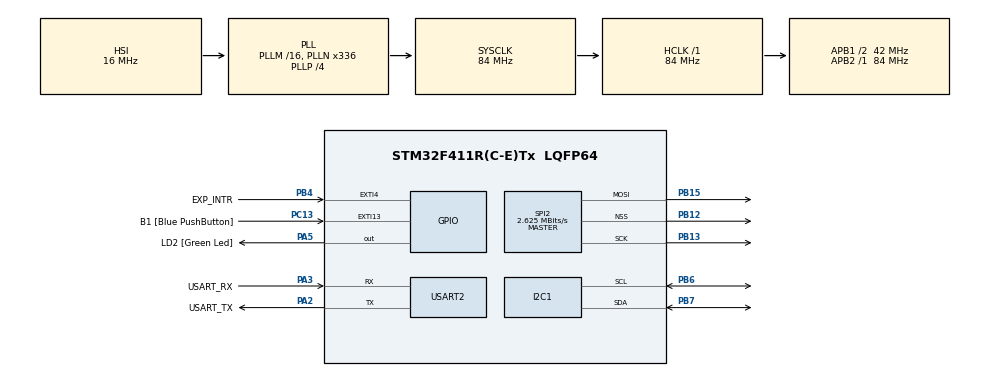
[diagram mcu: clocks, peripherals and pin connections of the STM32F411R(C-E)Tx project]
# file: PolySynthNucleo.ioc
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Dma.Request0=SPI2_TX
Dma.SPI2_TX.0.Direction=DMA_MEMORY_TO_PERIPH
Dma.SPI2_TX.0.FIFOMode=DMA_FIFOMODE_DISABLE
Dma.SPI2_TX.0.Instance=DMA1_Stream4
Dma.SPI2_TX.0.MemDataAlignment=DMA_MDATAALIGN_BYTE
Dma.SPI2_TX.0.MemInc=DMA_MINC_ENABLE
Dma.SPI2_TX.0.Mode=DMA_NORMAL
Dma.SPI2_TX.0.PeriphDataAlignment=DMA_PDATAALIGN_BYTE
Dma.SPI2_TX.0.PeriphInc=DMA_PINC_DISABLE
Dma.SPI2_TX.0.Priority=DMA_PRIORITY_LOW
Mcu.Family=STM32F4
Mcu.Name=STM32F411R(C-E)Tx
Mcu.Package=LQFP64
NVIC.DMA1_Stream4_IRQn=true\:0\:0\:false\:false\:true\:false\:true\:true
NVIC.EXTI4_IRQn=true\:0\:0\:false\:false\:true\:true\:true\:true
NVIC.PriorityGroup=NVIC_PRIORITYGROUP_0
PA13.GPIO_Label=TMS
PA13.Mode=Serial_Wire
PA13.Signal=SYS_JTMS-SWDIO
PA14.GPIO_Label=TCK
PA14.Mode=Serial_Wire
PA14.Signal=SYS_JTCK-SWCLK
PA2.GPIO_Label=USART_TX
PA2.Mode=Asynchronous
PA2.Signal=USART2_TX
PA3.GPIO_Label=USART_RX
PA3.Mode=Asynchronous
PA3.Signal=USART2_RX
PA5.GPIO_Label=LD2 [Green Led]
PA5.Signal=GPIO_Output
PB12.Mode=NSS_Signal_Hard_Output
PB12.Signal=SPI2_NSS
PB13.Mode=TX_Only_Simplex_Unidirect_Master
PB13.Signal=SPI2_SCK
PB15.Mode=TX_Only_Simplex_Unidirect_Master
PB15.Signal=SPI2_MOSI
PB3.Signal=SYS_JTDO-SWO
PB4.GPIO_Label=EXP_INTR
PB4.Signal=GPXTI4
PB6.Mode=I2C
PB6.Signal=I2C1_SCL
PB7.Mode=I2C
PB7.Signal=I2C1_SDA
PC13-ANTI_TAMP.GPIO_Label=B1 [Blue PushButton]
PC13-ANTI_TAMP.GPIO_ModeDefaultEXTI=GPIO_MODE_IT_FALLING
PC13-ANTI_TAMP.Signal=GPXTI13
PC14-OSC32_IN.Mode=LSE-External-Oscillator
PC14-OSC32_IN.Signal=RCC_OSC32_IN
PC15-OSC32_OUT.Mode=LSE-External-Oscillator
PC15-OSC32_OUT.Signal=RCC_OSC32_OUT
PH0\ -\ OSC_IN.Mode=HSE-External-Oscillator
PH0\ -\ OSC_IN.Signal=RCC_OSC_IN
PH1\ -\ OSC_OUT.Mode=HSE-External-Oscillator
PH1\ -\ OSC_OUT.Signal=RCC_OSC_OUT
ProjectManager.HeapSize=0x200
ProjectManager.StackSize=0x400
ProjectManager.TargetToolchain=STM32CubeIDE
RCC.48MHZClocksFreq_Value=84000000
RCC.AHBFreq_Value=84000000
RCC.APB1CLKDivider=RCC_HCLK_DIV2
RCC.APB1Freq_Value=42000000
RCC.APB1TimFreq_Value=84000000
RCC.APB2Freq_Value=84000000
RCC.APB2TimFreq_Value=84000000
RCC.CortexFreq_Value=84000000
RCC.FLatency-AdvancedSettings=FLASH_LATENCY_2
RCC.HCLKFreq_Value=84000000
RCC.HSE_VALUE=16000000
RCC.HSI_VALUE=16000000
RCC.PLLN=336
RCC.PLLP=RCC_PLLP_DIV4
RCC.SYSCLKFreq_VALUE=84000000
RCC.SYSCLKSource=RCC_SYSCLKSOURCE_PLLCLK
RCC.VCOOutputFreq_Value=336000000
SPI2.BaudRatePrescaler=SPI_BAUDRATEPRESCALER_16
SPI2.CalculateBaudRate=2.625 MBits/s
SPI2.Direction=SPI_DIRECTION_2LINES
SPI2.Mode=SPI_MODE_MASTER
SPI2.VirtualNSS=VM_NSSHARD
SPI2.VirtualType=VM_MASTER
USART2.VirtualMode=VM_ASYNC
board=NUCLEO-F411RE

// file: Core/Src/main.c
/* USER CODE BEGIN Header */
/**
  ******************************************************************************
  * @file           : main.c
  * @brief          : Main program body
  ******************************************************************************
  * @attention
  *
  * Copyright (c) 2024 STMicroelectronics.
  * All rights reserved.
  *
  * This software is licensed under terms that can be found in the LICENSE file
  * in the root directory of this software component.
  * If no LICENSE file comes with this software, it is provided AS-IS.
  *
  ******************************************************************************
  */
/* USER CODE END Header */
#include "main.h"

/* USER CODE BEGIN Includes */
#include <stdio.h>
#include "VoiceClock.h"
#include "DigitalPots.h"

/* USER CODE END Includes */

/* USER CODE BEGIN PD */

// Digital Pot settings
#define SAW1_LVL 255
#define TRI1_LVL 0
#define PULSE1_LVL 0
#define OSC1_LVL 128

#define SAW2_LVL 0
#define TRI2_LVL 0
#define PULSE2_LVL 255
#define OSC2_LVL 128

#define RESONANCE_LEVEL 128

/* USER CODE END PD */

I2C_HandleTypeDef hi2c1;

SPI_HandleTypeDef hspi2;
DMA_HandleTypeDef hdma_spi2_tx;

UART_HandleTypeDef huart2;

/* USER CODE BEGIN PV */
uint16_t clockBuffer[BUFFER_SIZE];
static volatile uint16_t outputIdx = 0;
uint8_t needsClockData;

uint16_t vBuf1[BUFFER_SIZE];
uint16_t vBuf2[BUFFER_SIZE];
uint16_t* currentBuffer = vBuf1;
uint16_t* nextBuffer = vBuf2;
volatile uint8_t nextBufNeeded = 0;

voice_clock_t voiceClk;

/* USER CODE END PV */

void SystemClock_Config(void);
static void MX_GPIO_Init(void);
static void MX_DMA_Init(void);
static void MX_USART2_UART_Init(void);
static void MX_SPI2_Init(void);
static void MX_I2C1_Init(void);

/* USER CODE BEGIN PFP */
void setMixers();

/* USER CODE END PFP */

/* USER CODE BEGIN 0 */

// HAL callbacks to request the next chunk for DMA
void HAL_SPI_TxCpltCallback(SPI_HandleTypeDef *hspi){
	uint16_t* justFinished = currentBuffer;
	currentBuffer = nextBuffer;
	nextBuffer = justFinished;
	if(HAL_SPI_Transmit_DMA(&hspi2, (uint8_t*)currentBuffer, BUFFER_SIZE * 2) != HAL_OK){
		Error_Handler();
	}
}

void HAL_SPI_TxHalfCpltCallback(SPI_HandleTypeDef *hspi){
	nextBufNeeded = 1;
}
/* USER CODE END 0 */

int main(void)
{

  /* MCU Configuration--------------------------------------------------------*/

  /* Reset of all peripherals, Initializes the Flash interface and the Systick. */
  HAL_Init();

  /* Configure the system clock */
  SystemClock_Config();

  /* Initialize all configured peripherals */
  MX_GPIO_Init();
  MX_DMA_Init();
  MX_USART2_UART_Init();
  MX_SPI2_Init();
  MX_I2C1_Init();
  /* USER CODE BEGIN 2 */
  // initialize the first voice buffer
  send_bits(voiceClk, currentBuffer, 0, BUFFER_SIZE);
  if(HAL_SPI_Transmit_DMA(&hspi2, (uint8_t*)currentBuffer, BUFFER_SIZE * 2) != HAL_OK){
	  Error_Handler();
  }

  setMixers();
  /* USER CODE END 2 */

  /* Infinite loop */
  /* USER CODE BEGIN WHILE */
  while (1)
  {
	  // update DMA for the waves if needed
	 if(nextBufNeeded){
		 send_bits(voiceClk, nextBuffer, 0, BUFFER_SIZE);
		 nextBufNeeded = 0;
	 }

    /* USER CODE END WHILE */

  }
}

void SystemClock_Config(void)
{
  RCC_OscInitTypeDef RCC_OscInitStruct = {0};
  RCC_ClkInitTypeDef RCC_ClkInitStruct = {0};

  /** Configure the main internal regulator output voltage
  */
  __HAL_RCC_PWR_CLK_ENABLE();
  __HAL_PWR_VOLTAGESCALING_CONFIG(PWR_REGULATOR_VOLTAGE_SCALE1);

  /** Initializes the RCC Oscillators according to the specified parameters
  * in the RCC_OscInitTypeDef structure.
  */
  RCC_OscInitStruct.OscillatorType = RCC_OSCILLATORTYPE_HSI;
  RCC_OscInitStruct.HSIState = RCC_HSI_ON;
  RCC_OscInitStruct.HSICalibrationValue = RCC_HSICALIBRATION_DEFAULT;
  RCC_OscInitStruct.PLL.PLLState = RCC_PLL_ON;
  RCC_OscInitStruct.PLL.PLLSource = RCC_PLLSOURCE_HSI;
  RCC_OscInitStruct.PLL.PLLM = 16;
  RCC_OscInitStruct.PLL.PLLN = 336;
  RCC_OscInitStruct.PLL.PLLP = RCC_PLLP_DIV4;
  RCC_OscInitStruct.PLL.PLLQ = 4;
  if (HAL_RCC_OscConfig(&RCC_OscInitStruct) != HAL_OK)
  {
    Error_Handler();
  }

  /** Initializes the CPU, AHB and APB buses clocks
  */
  RCC_ClkInitStruct.ClockType = RCC_CLOCKTYPE_HCLK|RCC_CLOCKTYPE_SYSCLK
                              |RCC_CLOCKTYPE_PCLK1|RCC_CLOCKTYPE_PCLK2;
  RCC_ClkInitStruct.SYSCLKSource = RCC_SYSCLKSOURCE_PLLCLK;
  RCC_ClkInitStruct.AHBCLKDivider = RCC_SYSCLK_DIV1;
  RCC_ClkInitStruct.APB1CLKDivider = RCC_HCLK_DIV2;
  RCC_ClkInitStruct.APB2CLKDivider = RCC_HCLK_DIV1;

  if (HAL_RCC_ClockConfig(&RCC_ClkInitStruct, FLASH_LATENCY_2) != HAL_OK)
  {
    Error_Handler();
  }
}

static void MX_I2C1_Init(void)
{

  hi2c1.Instance = I2C1;
  hi2c1.Init.ClockSpeed = 100000;
  hi2c1.Init.DutyCycle = I2C_DUTYCYCLE_2;
  hi2c1.Init.OwnAddress1 = 0;
  hi2c1.Init.AddressingMode = I2C_ADDRESSINGMODE_7BIT;
  hi2c1.Init.DualAddressMode = I2C_DUALADDRESS_DISABLE;
  hi2c1.Init.OwnAddress2 = 0;
  hi2c1.Init.GeneralCallMode = I2C_GENERALCALL_DISABLE;
  hi2c1.Init.NoStretchMode = I2C_NOSTRETCH_DISABLE;
  if (HAL_I2C_Init(&hi2c1) != HAL_OK)
  {
    Error_Handler();
  }

}

static void MX_SPI2_Init(void)
{

  /* SPI2 parameter configuration*/
  hspi2.Instance = SPI2;
  hspi2.Init.Mode = SPI_MODE_MASTER;
  hspi2.Init.Direction = SPI_DIRECTION_2LINES;
  hspi2.Init.DataSize = SPI_DATASIZE_8BIT;
  hspi2.Init.CLKPolarity = SPI_POLARITY_LOW;
  hspi2.Init.CLKPhase = SPI_PHASE_1EDGE;
  hspi2.Init.NSS = SPI_NSS_HARD_OUTPUT;
  hspi2.Init.BaudRatePrescaler = SPI_BAUDRATEPRESCALER_16;
  hspi2.Init.FirstBit = SPI_FIRSTBIT_MSB;
  hspi2.Init.TIMode = SPI_TIMODE_DISABLE;
  hspi2.Init.CRCCalculation = SPI_CRCCALCULATION_DISABLE;
  hspi2.Init.CRCPolynomial = 10;
  if (HAL_SPI_Init(&hspi2) != HAL_OK)
  {
    Error_Handler();
  }
  /* USER CODE BEGIN SPI2_Init 2 */
  voiceClk = create_voice_clock();

  /* USER CODE END SPI2_Init 2 */

}

static void MX_USART2_UART_Init(void)
{

  huart2.Instance = USART2;
  huart2.Init.BaudRate = 115200;
  huart2.Init.WordLength = UART_WORDLENGTH_8B;
  huart2.Init.StopBits = UART_STOPBITS_1;
  huart2.Init.Parity = UART_PARITY_NONE;
  huart2.Init.Mode = UART_MODE_TX_RX;
  huart2.Init.HwFlowCtl = UART_HWCONTROL_NONE;
  huart2.Init.OverSampling = UART_OVERSAMPLING_16;
  if (HAL_UART_Init(&huart2) != HAL_OK)
  {
    Error_Handler();
  }

}

static void MX_DMA_Init(void)
{

  /* DMA controller clock enable */
  __HAL_RCC_DMA1_CLK_ENABLE();

  /* DMA interrupt init */
  /* DMA1_Stream4_IRQn interrupt configuration */
  HAL_NVIC_SetPriority(DMA1_Stream4_IRQn, 0, 0);
  HAL_NVIC_EnableIRQ(DMA1_Stream4_IRQn);

}

static void MX_GPIO_Init(void)
{
  GPIO_InitTypeDef GPIO_InitStruct = {0};

  /* GPIO Ports Clock Enable */
  __HAL_RCC_GPIOC_CLK_ENABLE();
  __HAL_RCC_GPIOH_CLK_ENABLE();
  __HAL_RCC_GPIOA_CLK_ENABLE();
  __HAL_RCC_GPIOB_CLK_ENABLE();

  /*Configure GPIO pin Output Level */
  HAL_GPIO_WritePin(LD2_GPIO_Port, LD2_Pin, GPIO_PIN_RESET);

  /*Configure GPIO pin : B1_Pin */
  GPIO_InitStruct.Pin = B1_Pin;
  GPIO_InitStruct.Mode = GPIO_MODE_IT_FALLING;
  GPIO_InitStruct.Pull = GPIO_NOPULL;
  HAL_GPIO_Init(B1_GPIO_Port, &GPIO_InitStruct);

  /*Configure GPIO pin : LD2_Pin */
  GPIO_InitStruct.Pin = LD2_Pin;
  GPIO_InitStruct.Mode = GPIO_MODE_OUTPUT_PP;
  GPIO_InitStruct.Pull = GPIO_NOPULL;
  GPIO_InitStruct.Speed = GPIO_SPEED_FREQ_LOW;
  HAL_GPIO_Init(LD2_GPIO_Port, &GPIO_InitStruct);

  /*Configure GPIO pin : EXP_INTR_Pin */
  GPIO_InitStruct.Pin = EXP_INTR_Pin;
  GPIO_InitStruct.Mode = GPIO_MODE_IT_RISING;
  GPIO_InitStruct.Pull = GPIO_NOPULL;
  HAL_GPIO_Init(EXP_INTR_GPIO_Port, &GPIO_InitStruct);

  /* EXTI interrupt init*/
  HAL_NVIC_SetPriority(EXTI4_IRQn, 0, 0);
  HAL_NVIC_EnableIRQ(EXTI4_IRQn);

}

/* USER CODE BEGIN 4 */

void setMixers(){

	MCP44x1_setLevel(&hi2c1, MCP44X1_1_ADDR, 0, OSC1_LVL); // osc 1 level
	MCP44x1_setLevel(&hi2c1, MCP44X1_1_ADDR, 1, PULSE1_LVL); // osc 1 pulse
	MCP44x1_setLevel(&hi2c1, MCP44X1_1_ADDR, 2, SAW1_LVL); // osc 1 saw
	MCP44x1_setLevel(&hi2c1, MCP44X1_1_ADDR, 0, TRI1_LVL); // osc 1 tri

	MCP44x1_setLevel(&hi2c1, MCP44X1_2_ADDR, 0, OSC2_LVL); // osc 1 level
	MCP44x1_setLevel(&hi2c1, MCP44X1_2_ADDR, 1, PULSE2_LVL); // osc 1 pulse
	MCP44x1_setLevel(&hi2c1, MCP44X1_2_ADDR, 2, SAW2_LVL); // osc 1 saw
	MCP44x1_setLevel(&hi2c1, MCP44X1_2_ADDR, 0, TRI2_LVL); // osc 1 tri

	// set resonance
	AD5280_setLevel(&hi2c1, AD5280_ADDR, RESONANCE_LEVEL);
}

/* USER CODE END 4 */

void Error_Handler(void)
{
  __disable_irq();
  while (1)
  {
  }
}
